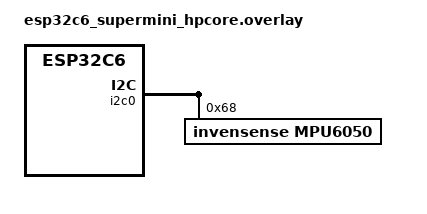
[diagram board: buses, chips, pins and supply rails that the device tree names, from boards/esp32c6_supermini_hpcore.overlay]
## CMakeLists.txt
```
# SPDX-License-Identifier: Apache-2.0

cmake_minimum_required(VERSION 3.20.0)

list(APPEND ZEPHYR_EXTRA_MODULES ${CMAKE_CURRENT_SOURCE_DIR}/../../modules/lib/micro-ros-zephyr-module/modules/libmicroros)


find_package(Zephyr REQUIRED HINTS $ENV{ZEPHYR_BASE})
project(imu_msg)

target_sources(app PRIVATE src/main.c src/microros_thread.c src/accel_driver.c)
```

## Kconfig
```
menu "WiFi Settings"

config WIFI_SSID
    string "WiFi SSID"
    default "MY_WIFI"
    help
      Nome da rede WiFi a ser usada pelo ESP32-C6.

config WIFI_PASSWORD
    string "WiFi Password"
    default "12345678"
    help
      Senha da rede WiFi.

endmenu

menu "MicroROS Agent Settings"

config AGENT_IP
    string "My Agent MicroROS IPV4"
    default "192.168.1.16"
    help
      Ip do Agente MicroROS.

config AGENT_PORT
    string "My Agent MicroROS UDP Port"
    default "8888"
    help
      Porta UDP onde o agente MicroROS está rodando.

endmenu

source "Kconfig.zephyr"
```

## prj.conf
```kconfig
# Core system
CONFIG_MAIN_STACK_SIZE=4096
CONFIG_INIT_STACKS=y
CONFIG_EVENTS=y
CONFIG_POLL=y
CONFIG_CPP=y
CONFIG_NEWLIB_LIBC=y
CONFIG_NEWLIB_LIBC_NANO=n
CONFIG_HEAP_MEM_POOL_SIZE=65536
CONFIG_PRINTK=y
CONFIG_ZBUS=y

# Logging
CONFIG_LOG=y
CONFIG_LOG_DEFAULT_LEVEL=3
CONFIG_LOG_PROCESS_THREAD=n
CONFIG_LOG_MODE_MINIMAL=y
CONFIG_NET_LOG=y

# GPIO
CONFIG_GPIO=y

# Networking
CONFIG_NETWORKING=y
CONFIG_NET_CONFIG_AUTO_INIT=y
CONFIG_NET_MGMT=y
CONFIG_NET_MGMT_EVENT=y
CONFIG_NET_MGMT_EVENT_STACK_SIZE=2048
CONFIG_NET_IPV4=y
CONFIG_NET_IPV6=n
CONFIG_NET_ARP=y
CONFIG_NET_UDP=y
CONFIG_NET_DHCPV4=y
CONFIG_NET_DHCPV4_OPTION_CALLBACKS=y
CONFIG_NET_IF_UNICAST_IPV4_ADDR_COUNT=3
CONFIG_NET_SOCKETS=y
CONFIG_NET_CONNECTION_MANAGER=y
CONFIG_DNS_RESOLVER=y

# Wi-Fi
CONFIG_WIFI=y
CONFIG_WIFI_INIT_PRIORITY=60
CONFIG_ESP32_WIFI_STA_AUTO_DHCPV4=y

# micro-ROS
CONFIG_MICROROS=y
CONFIG_MICROROS_TRANSPORT_UDP=y

# POSIX
CONFIG_POSIX_API=y

# Utils
CONFIG_TEST_RANDOM_GENERATOR=y

#IMU
CONFIG_I2C=y
CONFIG_SENSOR=y
CONFIG_MPU6050_TRIGGER_NONE=y
CONFIG_CBPRINTF_FP_SUPPORT=y
```

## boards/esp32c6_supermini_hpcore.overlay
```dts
&i2c0 {
	mpu6050@68 {
		compatible = "invensense,mpu6050";
		reg = <0x68>;
		status = "okay";
		smplrt-div = <249>;
	};
};
```

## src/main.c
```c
#include <zephyr/kernel.h>
#include <zephyr/logging/log.h>
#include <zephyr/net/wifi_mgmt.h>
#include <zephyr/net/net_mgmt.h>
#include <zephyr/device.h>
#include <zephyr/devicetree.h>
#include <zephyr/drivers/gpio.h>

#include <string.h>

#include "microros_thread.h"
#include "accel_driver.h"

#define LOG_MODULE_NAME app_wifi_microros
LOG_MODULE_REGISTER(LOG_MODULE_NAME);

static struct net_mgmt_event_callback wifi_cb;
static void wifi_event_handler(struct net_mgmt_event_callback *cb,
                               uint32_t mgmt_event, struct net_if *iface)
{
    struct wifi_status_report msg = {
        .connected = false
    };

    switch (mgmt_event) {
        case NET_EVENT_WIFI_CONNECT_RESULT:
            msg.connected = true;
            zbus_chan_pub(&wifi_status_channel, &msg, K_NO_WAIT);
            break;
        case NET_EVENT_WIFI_DISCONNECT_RESULT:
            msg.connected = false;
            zbus_chan_pub(&wifi_status_channel, &msg, K_NO_WAIT);
            break;
        case NET_EVENT_WIFI_IFACE_STATUS:
            break;
        default:
            break;
    }
}

int main(void)
{
    accel_driver_init();

    net_mgmt_init_event_callback(&wifi_cb, wifi_event_handler,
                                 NET_EVENT_WIFI_CONNECT_RESULT |
                                 NET_EVENT_WIFI_DISCONNECT_RESULT |
                                 NET_EVENT_WIFI_IFACE_STATUS);
    net_mgmt_add_event_callback(&wifi_cb);

    struct net_if *iface = net_if_get_default();
    struct wifi_connect_req_params wifi_params = {
        .ssid = CONFIG_WIFI_SSID,
        .ssid_length = strlen(CONFIG_WIFI_SSID),
        .psk = CONFIG_WIFI_PASSWORD,
        .psk_length = strlen(CONFIG_WIFI_PASSWORD),
        .channel = WIFI_CHANNEL_ANY,
        .security = WIFI_SECURITY_TYPE_PSK,
    };

    int ret = net_mgmt(NET_REQUEST_WIFI_CONNECT, iface, &wifi_params, sizeof(wifi_params));

    while (1) {
        k_sleep(K_SECONDS(1));
    }

    return 0;
}
```

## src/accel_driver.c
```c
#include "accel_driver.h"

#include <zephyr/kernel.h>
#include <zephyr/device.h>
#include <zephyr/drivers/sensor.h>

#include <sensor_msgs/msg/imu.h>

#include <time.h>  

#include <zephyr/zbus/zbus.h>
#include "microros_thread.h"


#define ACCEL_THREAD_STACK 2048
#define ACCEL_THREAD_PRIO 4

extern const struct zbus_channel imu_channel;
static const struct device *mpu6050;

static inline float val(const struct sensor_value *v)
{
    return (float)sensor_value_to_double(v);
}

static void accel_thread(void *a, void *b, void *c)
{
    ARG_UNUSED(a);
    ARG_UNUSED(b);
    ARG_UNUSED(c);

    struct sensor_value accel[3];
    struct sensor_value gyro[3];

    sensor_msgs__msg__Imu msg;
    memset(&msg, 0, sizeof(msg));

    while (1)
    {
        if (sensor_sample_fetch(mpu6050) != 0)
        {
            k_sleep(K_MSEC(100));
            continue;
        }

        if (sensor_channel_get(mpu6050, SENSOR_CHAN_ACCEL_XYZ, accel) != 0)
        {
            k_sleep(K_MSEC(100));
            continue;
        }

        if (sensor_channel_get(mpu6050, SENSOR_CHAN_GYRO_XYZ, gyro) != 0)
        {
            k_sleep(K_MSEC(100));
            continue;
        }

        struct timespec ts;
        clock_gettime(CLOCK_REALTIME, &ts);

        msg.header.stamp.sec = ts.tv_sec;
        msg.header.stamp.nanosec = ts.tv_nsec;

        msg.header.frame_id.data = "imu_link";
        msg.header.frame_id.size = strlen("imu_link");
        msg.header.frame_id.capacity = msg.header.frame_id.size + 1;

        msg.linear_acceleration.x = val(&accel[0]);
        msg.linear_acceleration.y = val(&accel[1]);
        msg.linear_acceleration.z = val(&accel[2]);

        msg.angular_velocity.x = val(&gyro[0]);
        msg.angular_velocity.y = val(&gyro[1]);
        msg.angular_velocity.z = val(&gyro[2]);

        msg.orientation.w = 1.0f;
        msg.orientation.x = 0.0f;
        msg.orientation.y = 0.0f;
        msg.orientation.z = 0.0f;

        msg.orientation_covariance[0] = 0.001;
        msg.orientation_covariance[4] = 0.001;
        msg.orientation_covariance[8] = 0.001;

        msg.angular_velocity_covariance[0] = 0.001;
        msg.angular_velocity_covariance[4] = 0.001;
        msg.angular_velocity_covariance[8] = 0.001;

        msg.linear_acceleration_covariance[0] = 0.01;
        msg.linear_acceleration_covariance[4] = 0.01;
        msg.linear_acceleration_covariance[8] = 0.01;

        zbus_chan_pub(&imu_channel, &msg, K_NO_WAIT);

        k_sleep(K_MSEC(100));
    }
}

K_THREAD_DEFINE(
    accel_thread_id,
    ACCEL_THREAD_STACK,
    accel_thread,
    NULL, NULL, NULL,
    ACCEL_THREAD_PRIO,
    0,
    0);

int accel_driver_init(void)
{
    mpu6050 = DEVICE_DT_GET_ONE(invensense_mpu6050);

    if (!device_is_ready(mpu6050))
    {
        return -1;
    }

    return 0;
}
```

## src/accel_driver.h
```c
#ifndef ACCEL_DRIVER_H
#define ACCEL_DRIVER_H

int accel_driver_init(void);

#endif /* ACCEL_DRIVER_H */
```

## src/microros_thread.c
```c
#include "microros_thread.h"
#include <string.h>
#include <zephyr/kernel.h>
#include <zephyr/logging/log.h>
#include <zephyr/net/wifi_mgmt.h>
#include <zephyr/net/net_mgmt.h>
#include <zephyr/device.h>
#include <zephyr/devicetree.h>
#include <zephyr/drivers/gpio.h>
#include <rcl/rcl.h>
#include <rcl/error_handling.h>
#include <rclc/rclc.h>
#include <rclc/executor.h>
#include <sensor_msgs/msg/imu.h>
#include <rmw_microros/rmw_microros.h>
#include <microros_transports.h>

#define LOG_MODULE_NAME microros_thread
LOG_MODULE_REGISTER(LOG_MODULE_NAME);

#define MICROROS_THREAD_STK_SIZE 4096
#define MICROROS_THREAD_PRIORITY 5

ZBUS_CHAN_DEFINE(
    wifi_status_channel,
    struct wifi_status_report,
    NULL,
    NULL,
    ZBUS_OBSERVERS(microros_sub),
    ZBUS_MSG_INIT(.connected = false));

ZBUS_CHAN_DEFINE(
    imu_channel,
    sensor_msgs__msg__Imu,
    NULL,
    NULL,
    ZBUS_OBSERVERS(microros_sub),
    ZBUS_MSG_INIT()
);

ZBUS_SUBSCRIBER_DEFINE(microros_sub, 2);

static rcl_publisher_t publisher;
static sensor_msgs__msg__Imu imu_msg;

void timer_callback(rcl_timer_t *timer, int64_t last_call_time)
{
    RCLC_UNUSED(last_call_time);
    if (timer == NULL) return;

    rcl_ret_t rc = rcl_publish(&publisher, &imu_msg, NULL);
    if (rc != RCL_RET_OK)
    {
        LOG_ERR("rcl_publish failed: %d", rc);
    }
}

void microros_thread(void *a, void *b, void *c)
{
    ARG_UNUSED(a);
    ARG_UNUSED(b);
    ARG_UNUSED(c);

    const struct zbus_channel *chan;
    struct wifi_status_report msg;

    while (1)
    {
        if (zbus_sub_wait(&microros_sub, &chan, K_FOREVER) != 0) continue;
        if (chan != &wifi_status_channel) continue;
        if (zbus_chan_read(&wifi_status_channel, &msg, K_MSEC(500)) != 0) continue;
        if (!msg.connected) continue;

        strncpy(default_params.ip, CONFIG_AGENT_IP, sizeof(default_params.ip) - 1);
        default_params.ip[sizeof(default_params.ip) - 1] = '\0';

        strncpy(default_params.port, CONFIG_AGENT_PORT, sizeof(default_params.port) - 1);
        default_params.port[sizeof(default_params.port) - 1] = '\0';

        rmw_uros_set_custom_transport(
            false,
            (void *)&default_params,
            zephyr_transport_open,
            zephyr_transport_close,
            zephyr_transport_write,
            zephyr_transport_read);

        rcl_ret_t rc;
        rcl_allocator_t allocator = rcl_get_default_allocator();
        rclc_support_t support;

        rc = rclc_support_init(&support, 0, NULL, &allocator);
        if (rc != RCL_RET_OK) continue;

        rcl_node_t node;
        rc = rclc_node_init_default(&node, "zephyr_imu_publisher", "", &support);
        if (rc != RCL_RET_OK) continue;

        rc = rclc_publisher_init_default(
            &publisher,
            &node,
            ROSIDL_GET_MSG_TYPE_SUPPORT(sensor_msgs, msg, Imu),
            "imu_data");
        if (rc != RCL_RET_OK) continue;

        rcl_timer_t timer;
        const uint32_t timer_timeout_ms = 100;

        rc = rclc_timer_init_default(
            &timer,
            &support,
            RCL_MS_TO_NS(timer_timeout_ms),
            timer_callback);
        if (rc != RCL_RET_OK) continue;

        rclc_executor_t executor;
        rc = rclc_executor_init(&executor, &support.context, 1, &allocator);
        if (rc != RCL_RET_OK) continue;

        rc = rclc_executor_add_timer(&executor, &timer);
        if (rc != RCL_RET_OK) continue;

        memset(&imu_msg, 0, sizeof(sensor_msgs__msg__Imu));

        while (1)
        {
            rclc_executor_spin_some(&executor, RCL_MS_TO_NS(50));

            if (zbus_chan_read(&wifi_status_channel, &msg, K_NO_WAIT) == 0)
            {
                if (!msg.connected) break;
            }

            if (zbus_sub_wait(&microros_sub, &chan, K_NO_WAIT) == 0)
            {
                if (chan == &imu_channel)
                {
                    zbus_chan_read(&imu_channel, &imu_msg, K_NO_WAIT);
                }
            }

            k_sleep(K_MSEC(10));
        }
    }
}

K_THREAD_DEFINE(
    microros_thread_id,
    MICROROS_THREAD_STK_SIZE,
    microros_thread,
    NULL, NULL, NULL,
    MICROROS_THREAD_PRIORITY,
    0,
    0);
```

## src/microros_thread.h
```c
#ifndef MICROROS_THREAD_H
#define MICROROS_THREAD_H

#include <zephyr/zbus/zbus.h>

struct wifi_status_report {
    bool connected;
};

ZBUS_CHAN_DECLARE(wifi_status_channel);
ZBUS_CHAN_DECLARE(imu_channel);

#endif /* MICROROS_THREAD_H */
```
